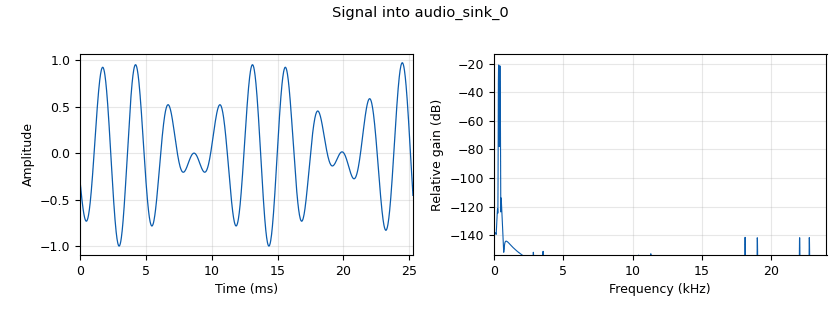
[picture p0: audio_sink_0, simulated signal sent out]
<?xml version='1.0' encoding='utf-8'?>
<?grc format='1' created='3.7.6'?>
<flow_graph>
<block>
<key>options</key>
<param><key>id</key><value>top_block</value></param>
<param><key>generate_options</key><value>qt_gui</value></param>
<param><key>category</key><value>Custom</value></param>
</block>
<block>
<key>variable</key>
<param><key>id</key><value>samp_rate</value></param>
<param><key>value</key><value>48000</value></param>
</block>
<block>
<key>audio_sink</key>
<param><key>id</key><value>audio_sink_0</value></param>
<param><key>samp_rate</key><value>samp_rate</value></param>
</block>
<block>
<key>analog_sig_source_x</key>
<param><key>id</key><value>analog_sig_source_x_0_0</value></param>
<param><key>type</key><value>float</value></param>
<param><key>samp_rate</key><value>samp_rate</value></param>
<param><key>waveform</key><value>analog.GR_COS_WAVE</value></param>
<param><key>freq</key><value>440</value></param>
<param><key>amp</key><value>0.5</value></param>
<param><key>offset</key><value>0</value></param>
</block>
<block>
<key>analog_sig_source_x</key>
<param><key>id</key><value>analog_sig_source_x_0</value></param>
<param><key>type</key><value>float</value></param>
<param><key>samp_rate</key><value>samp_rate</value></param>
<param><key>waveform</key><value>analog.GR_COS_WAVE</value></param>
<param><key>freq</key><value>350</value></param>
<param><key>amp</key><value>0.5</value></param>
<param><key>offset</key><value>0</value></param>
</block>
<block>
<key>blocks_add_xx</key>
<param><key>id</key><value>blocks_add_xx_0</value></param>
<param><key>type</key><value>float</value></param>
</block>
<block>
<key>blocks_probe_signal_x</key>
<param><key>id</key><value>probe_signal</value></param>
<param><key>type</key><value>float</value></param>
</block>
<block>
<key>variable_function_probe</key>
<param><key>id</key><value>probe_var</value></param>
<param><key>value</key><value>0</value></param>
<param><key>block_id</key><value>probe_signal</value></param>
<param><key>function_name</key><value>level</value></param>
<param><key>poll_rate</key><value>1</value></param>
</block>
<block>
<key>variable_qtgui_label</key>
<param><key>id</key><value>variable_qtgui_label_0</value></param>
<param><key>type</key><value>int</value></param>
<param><key>value</key><value>probe_var</value></param>
</block>
<connection><source_block_id>analog_sig_source_x_0</source_block_id><sink_block_id>blocks_add_xx_0</sink_block_id><source_key>0</source_key><sink_key>0</sink_key></connection>
<connection><source_block_id>analog_sig_source_x_0_0</source_block_id><sink_block_id>blocks_add_xx_0</sink_block_id><source_key>0</source_key><sink_key>1</sink_key></connection>
<connection><source_block_id>blocks_add_xx_0</source_block_id><sink_block_id>audio_sink_0</sink_block_id><source_key>0</source_key><sink_key>0</sink_key></connection>
<connection><source_block_id>blocks_add_xx_0</source_block_id><sink_block_id>probe_signal</sink_block_id><source_key>0</source_key><sink_key>0</sink_key></connection>
</flow_graph>
